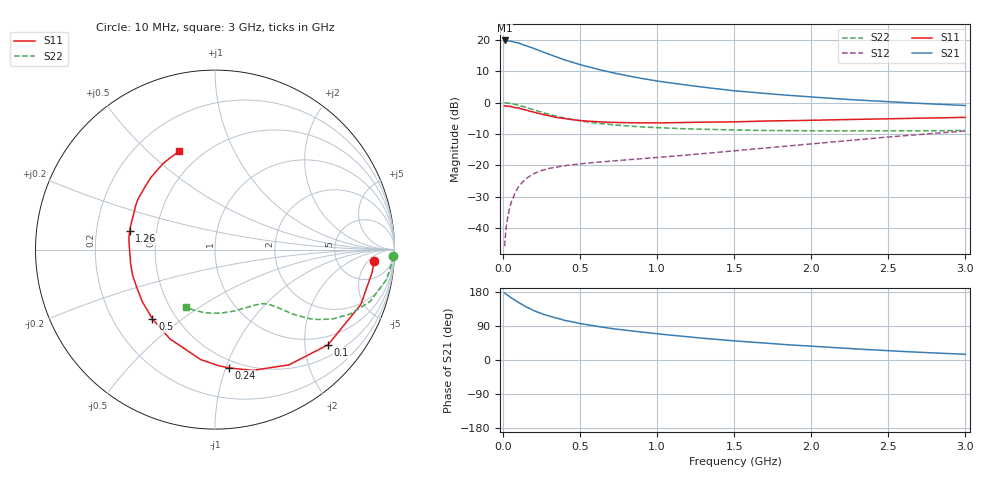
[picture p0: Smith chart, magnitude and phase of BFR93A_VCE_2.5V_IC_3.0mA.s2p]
! Infineon Technologies  Discrete & RF Semiconductors
! BFR93A
! VCE =  2.5 V,  IC =  3.0 mA
! Common Emitter S-Parameters:  Nov 2015
# GHz  S  MA  R  50
!  f  S11  S21  S12  S22
! GHz  MAG  ANG  MAG  ANG  MAG  ANG  MAG  ANG
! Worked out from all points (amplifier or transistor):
!   180 points, 10 MHz to 3 GHz, reference 50 ohm
!   highest |S21| = 19.8 dB at 10 MHz (marker M1)
!   |S21| within 3 dB of that: start of sweep to 223.5 MHz
!   unconditionally stable (mu >= 1): 874 MHz to 2.888 GHz
!   at 160 MHz: K = 0.25, MSG = 20.9 dB, |S12| = -23.8 dB
!   at 1.22 GHz: K = 1.14, MAG = 8.7 dB, |S12| = -16.6 dB
!   at 3 GHz: K = 0.98, MSG = 4.1 dB, |S12| = -9.0 dB
!   S11 on the Smith chart (normalised r, x): 10 MHz: 12, -8; 100 MHz: 0.77, -2.54; 240 MHz: 0.44, -1.02; 500 MHz: 0.37, -0.39; 1.26 GHz: 0.35, +0.09; 3 GHz: 0.38, +0.63
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0.01  0.8887 -4.2  9.732 176.8  0.0052 87.8  0.9925 -2.1
0.015  0.886 -6.2  9.722 175.3  0.0076 85.8  0.9907 -3.0
0.025  0.8789 -10.3  9.665 172.2  0.0125 82.8  0.9852 -5.0
0.05  0.8683 -20.6  9.489 164.8  0.0245 79.0  0.9697 -9.9
0.1  0.8233 -40.1  8.869 151.9  0.0457 68.9  0.9121 -18.4
0.15  0.7631 -57.3  8.051 140.0  0.062 60.5  0.8368 -25.3
0.2  0.7046 -72.8  7.264 130.3  0.0742 54.6  0.7659 -30.2
0.24  0.6631 -83.4  6.645 123.8  0.0813 50.8  0.7128 -33.1
0.26  0.6469 -88.3  6.368 120.8  0.0844 49.2  0.6891 -34.4
0.3  0.6178 -97.4  5.852 115.5  0.0898 46.8  0.6466 -36.4
0.4  0.5574 -116.7  4.772 104.5  0.0992 42.8  0.565 -39.6
0.5  0.5205 -132.0  4.011 96.2  0.106 41.0  0.5102 -41.4
0.52  0.5143 -134.3  3.894 95.0  0.1072 40.9  0.5026 -41.7
0.6  0.4987 -144.1  3.449 89.3  0.112 40.7  0.4721 -42.9
0.7  0.4843 -154.3  3.019 83.2  0.1173 41.0  0.4458 -44.3
0.9  0.4765 -170.7  2.418 73.6  0.1277 43.0  0.4099 -47.4
1.02  0.4753 -178.6  2.167 68.3  0.1351 44.4  0.3973 -49.6
1.26  0.4863 167.7  1.808 58.9  0.1516 47.2  0.3783 -55.1
1.52  0.495 156.0  1.526 49.9  0.1724 49.8  0.366 -62.1
2.02  0.5244 137.8  1.218 35.7  0.2231 52.2  0.3552 -78.2
2.52  0.5539 123.3  1.025 24.2  0.2861 50.6  0.355 -96.4
3  0.5824 110.2  0.899 15.0  0.3535 46.3  0.3606 -116.7
